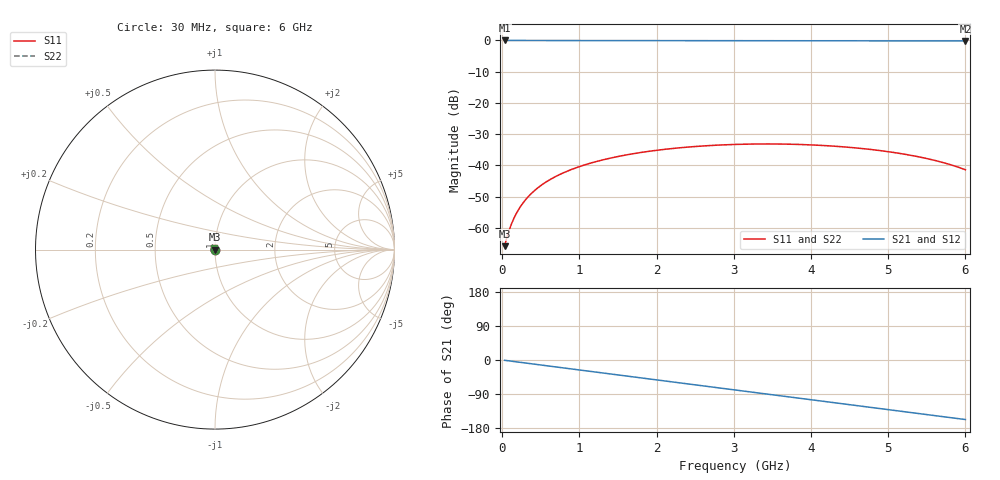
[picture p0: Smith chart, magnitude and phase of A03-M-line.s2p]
! yapnr Order 0 O0-M: O0-M A03 M dL13 (line, family M)
! stackup OSHPARK-4L-EM528, nominal parameters; geometry of the OSHPARK-4L-FR408HR design
! model: 2D quasi-static RLGC (Djordjevic-Sarkar, Huray roughness, Wheeler loss); generated by python -m yapnr.rf.coupons expected --stackup OSHPARK-4L-FR408HR --upload M
! reference planes 10 mm from each end; 50 ohm (from the M line's Zc)
# GHz S DB R 50
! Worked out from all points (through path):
!   200 points, 30 MHz to 6 GHz, reference 50 ohm
!   highest |S21| = 0.00 dB at 30 MHz (marker M1); lowest = -0.1 dB at 6 GHz (marker M2)
!   group delay of S21, straight-line fit = 72.7 ps
!   lowest |S11| = -65.9 dB at 30 MHz (marker M3), VSWR 1.00, Z = 50.1 + j0.00523 ohm
!   |S11| at or under -10 dB: start of sweep to end of sweep
!   |S22| runs from -65.9 to -33.1 dB; largest |S21 - S12| = 0
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0.03  -65.86 5.9  -0.00 -0.8  -0.00 -0.8  -65.86 5.9
0.06  -62.95 -13.7  -0.01 -1.6  -0.01 -1.6  -62.95 -13.7
0.09  -60.65 -27.8  -0.01 -2.4  -0.01 -2.4  -60.65 -27.8
0.15  -56.97 -45.7  -0.01 -4.0  -0.01 -4.0  -56.97 -45.7
0.24  -53.01 -60.6  -0.02 -6.4  -0.02 -6.4  -53.01 -60.6
0.3  -51.03 -67.0  -0.02 -8.0  -0.02 -8.0  -51.03 -67.0
0.36  -49.40 -72.1  -0.02 -9.5  -0.02 -9.5  -49.40 -72.1
0.51  -46.26 -81.6  -0.02 -13.5  -0.02 -13.5  -46.26 -81.6
0.66  -43.97 -88.8  -0.03 -17.4  -0.03 -17.4  -43.97 -88.8
0.84  -41.86 -96.2  -0.03 -22.1  -0.03 -22.1  -41.86 -96.2
1.05  -39.97 -103.7  -0.04 -27.6  -0.04 -27.6  -39.97 -103.7
1.5  -37.15 -118.2  -0.05 -39.4  -0.05 -39.4  -37.15 -118.2
2.04  -35.04 -134.2  -0.07 -53.6  -0.07 -53.6  -35.04 -134.2
2.55  -33.86 -148.6  -0.08 -66.9  -0.08 -66.9  -33.86 -148.6
3.03  -33.28 -161.9  -0.09 -79.5  -0.09 -79.5  -33.28 -161.9
3.51  -33.14 -174.9  -0.10 -92.0  -0.10 -92.0  -33.14 -174.9
4.02  -33.46 171.3  -0.11 -105.3  -0.11 -105.3  -33.46 171.3
4.5  -34.23 158.6  -0.12 -117.9  -0.12 -117.9  -34.23 158.6
5.01  -35.64 145.2  -0.13 -131.2  -0.13 -131.2  -35.64 145.2
5.55  -38.09 131.3  -0.14 -145.4  -0.14 -145.4  -38.09 131.3
5.79  -39.65 125.3  -0.15 -151.6  -0.15 -151.6  -39.65 125.3
6  -41.40 120.2  -0.15 -157.1  -0.15 -157.1  -41.40 120.2
